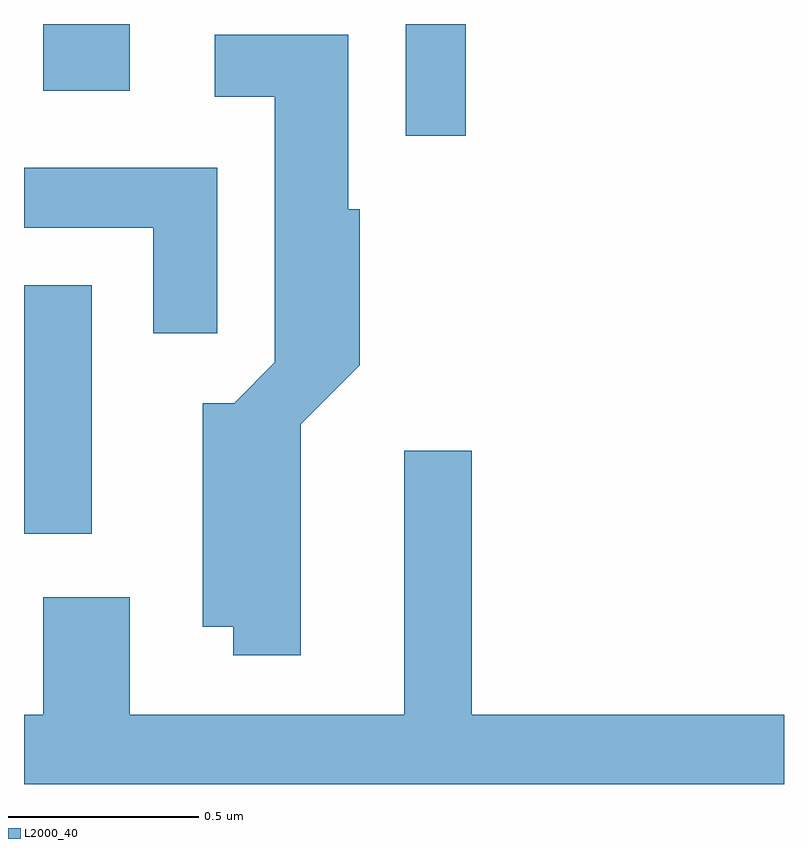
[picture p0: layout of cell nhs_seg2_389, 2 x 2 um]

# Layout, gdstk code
import gdstk
lib = gdstk.Library(unit=1e-6, precision=1e-09)
def R(c, l, rs):  # rectangles x0, y0, x1, y1
    for r in rs: c.add(gdstk.rectangle(r[:2], r[2:], *l))
def P(c, l, *ps):  # polygons
    for p in ps: c.add(gdstk.Polygon(p, *l))
L2000_40 = (2000, 40)

nhs_seg2_389 = lib.new_cell('nhs_seg2_389')
R(nhs_seg2_389, L2000_40, [(187.611,1093.461,187.789,1094.114), (188.616,1094.508,188.774,1094.802), (187.661,1094.626,187.889,1094.802)])
P(nhs_seg2_389, L2000_40, [(188.339,1093.749),(188.494,1093.904),(188.494,1094.314),(188.464,1094.314),(188.464,1094.774),(188.113,1094.774),(188.113,1094.611),(188.271,1094.611),(188.271,1093.912),(188.164,1093.804),(188.081,1093.804),(188.081,1093.216),(188.161,1093.216),(188.161,1093.141),(188.339,1093.141)],
  [(188.119,1094.424),(187.611,1094.424),(187.611,1094.266),(187.951,1094.266),(187.951,1093.988),(188.119,1093.988)],
  [(189.611,1092.984),(188.789,1092.984),(188.789,1093.679),(188.611,1093.679),(188.611,1092.984),(187.889,1092.984),(187.889,1093.294),(187.661,1093.294),(187.661,1092.984),(187.611,1092.984),(187.611,1092.802),(189.611,1092.802)])

lib.write_gds('nhs_seg2_389.gds')
